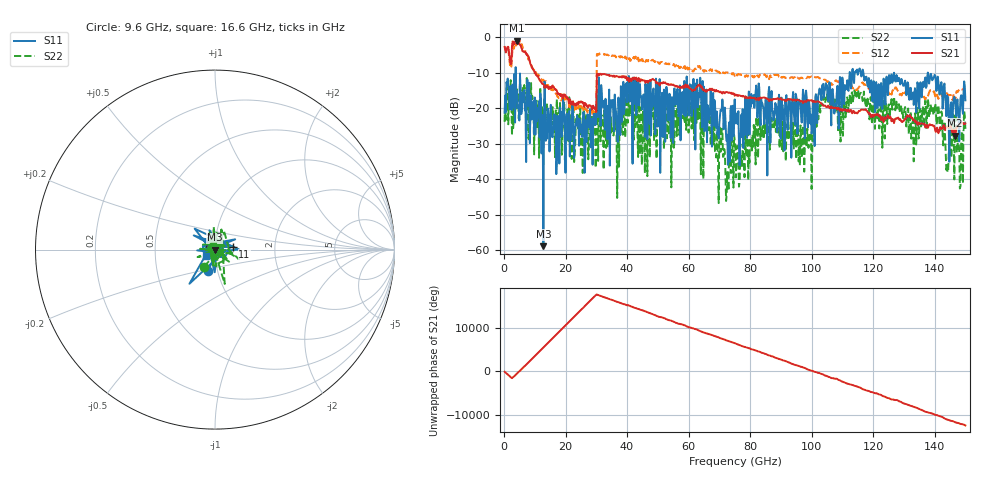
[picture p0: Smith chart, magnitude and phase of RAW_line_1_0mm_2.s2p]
!  2-Port S-parameters saved by WinCal
! VAR MeasName=S-Parameters (CALIBRATED_DATA) read from VNA (MS4647B)
! VAR MeasDate=27-Apr-22 15:07:42
! VAR NAME=RAW_line_1mm_2
! VAR FILENAME=RAW_line_1mm_2.S2P
! VAR DATE=27-Apr-22 15:07:42
! VAR PHYS_PORTS=1,2
! VAR ObjTypeName=DATASET
! VAR IndexType=Frequency
! VAR ChuckHeaterState=Unknown
! VAR ChuckTemp=NaN
! VAR ChuckTempUnits=Unknown
# Hz S RI R 50
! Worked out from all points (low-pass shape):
!   750 points, 200 MHz to 150 GHz, reference 50 ohm
!   highest |S21| = -0.94 dB at 4.2 GHz (marker M1); lowest = -27.7 dB at 146.6 GHz (marker M2)
!   |S21| within 3 dB of the highest: 684.2 MHz to 1.586 GHz (902.2 MHz wide, 79.5 % of centre); 2.538 GHz to 6.217 GHz (3.679 GHz wide, 84 % of centre)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
!   lowest |S11| = -58.8 dB at 12.8 GHz (marker M3), VSWR 1.00, Z = 49.9 - j0.049 ohm
!   |S11| at or under -10 dB: 3.838 GHz to 112.4 GHz (108.5 GHz wide, 187 % of centre); 126.8 GHz to 137.8 GHz (10.99 GHz wide, 8.31 % of centre); 137.8 GHz to end of sweep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
!   |S22| runs from -46.7 to -11.3 dB; largest |S21 - S12| = 1.7
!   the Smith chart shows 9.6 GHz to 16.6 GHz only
!   S11 on the Smith chart (normalised r, x): 9.6 GHz: 0.90, -0.22; 11 GHz: 1.22, +0.04; 16.6 GHz: 0.91, -0.06
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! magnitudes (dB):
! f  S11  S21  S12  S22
! 200 MHz  -21.3  -2.7  -2.6  -23.8
! 4.2 GHz  -15.1  -0.9  -1.5  -14.6
! 9.6 GHz  -18.0  -9.2  -9.1  -19.0
! 11 GHz  -20.0  -10.9  -10.5  -25.9
! 12.8 GHz  -58.8  -13.2  -12.0  -20.6
! 16.6 GHz  -24.5  -14.7  -15.4  -33.7
! 25.2 GHz  -24.6  -18.2  -19.9  -27.8
! 29.4 GHz  -24.5  -19.8  -21.4  -26.2
! 30.8 GHz  -11.3  -10.8  -4.9  -18.9
! 50.2 GHz  -15.4  -12.9  -7.2  -20.9
! 63 GHz  -19.8  -13.6  -8.1  -20.0
! 70.6 GHz  -20.7  -15.5  -10.1  -30.0
! 72.4 GHz  -29.2  -15.4  -9.9  -44.0
! 75.2 GHz  -23.5  -16.1  -10.4  -30.9
! 100.2 GHz  -25.8  -17.8  -11.1  -32.9
! 104.4 GHz  -14.8  -19.2  -11.9  -18.5
! 125.2 GHz  -10.6  -22.8  -16.1  -18.9
! 140.8 GHz  -12.8  -25.4  -16.2  -23.9
! 144.2 GHz  -16.6  -25.0  -16.0  -38.0
! 146.6 GHz  -17.3  -27.7  -17.7  -23.4
! 148.6 GHz  -16.3  -24.2  -14.5  -30.6
! 150 GHz  -17.8  -24.2  -15.0  -25.9
